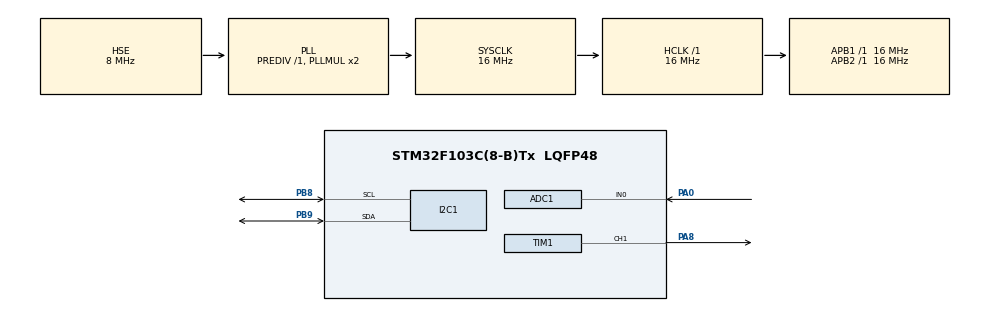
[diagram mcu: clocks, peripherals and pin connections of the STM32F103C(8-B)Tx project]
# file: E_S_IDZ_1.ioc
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ADC1.Channel-0\#ChannelRegularConversion=ADC_CHANNEL_0
ADC1.NbrOfConversionFlag=1
ADC1.Rank-0\#ChannelRegularConversion=1
ADC1.SamplingTime-0\#ChannelRegularConversion=ADC_SAMPLETIME_1CYCLE_5
ADC1.master=1
Mcu.Family=STM32F1
Mcu.Name=STM32F103C(8-B)Tx
Mcu.Package=LQFP48
NVIC.ADC1_2_IRQn=true\:0\:0\:false\:false\:true\:true\:true\:true
NVIC.PriorityGroup=NVIC_PRIORITYGROUP_4
NVIC.TIM2_IRQn=true\:0\:0\:false\:false\:true\:true\:true\:true
PA0-WKUP.Signal=ADCx_IN0
PA13.Mode=Serial_Wire
PA13.Signal=SYS_JTMS-SWDIO
PA14.Mode=Serial_Wire
PA14.Signal=SYS_JTCK-SWCLK
PA8.Signal=S_TIM1_CH1
PB8.Mode=I2C
PB8.Signal=I2C1_SCL
PB9.Mode=I2C
PB9.Signal=I2C1_SDA
PD0-OSC_IN.Mode=HSE-External-Oscillator
PD0-OSC_IN.Signal=RCC_OSC_IN
PD1-OSC_OUT.Mode=HSE-External-Oscillator
PD1-OSC_OUT.Signal=RCC_OSC_OUT
ProjectManager.HeapSize=0x200
ProjectManager.StackSize=0x400
ProjectManager.TargetToolchain=STM32CubeIDE
RCC.AHBFreq_Value=16000000
RCC.APB1Freq_Value=16000000
RCC.APB1TimFreq_Value=16000000
RCC.APB2Freq_Value=16000000
RCC.APB2TimFreq_Value=16000000
RCC.HCLKFreq_Value=16000000
RCC.PLLSourceVirtual=RCC_PLLSOURCE_HSE
RCC.SYSCLKFreq_VALUE=16000000
RCC.SYSCLKSource=RCC_SYSCLKSOURCE_PLLCLK
RCC.USBFreq_Value=16000000
SH.ADCx_IN0.0=ADC1_IN0,IN0
SH.S_TIM1_CH1.0=TIM1_CH1,PWM Generation1 CH1
TIM1.Channel-PWM\ Generation1\ CH1=TIM_CHANNEL_1
TIM1.Period=50000
TIM2.Channel-PWM\ Generation1\ No\ Output=TIM_CHANNEL_1
TIM2.Period=20
TIM2.Prescaler=800
VP_TIM2_VS_no_output1.Mode=PWM Generation1 No Output
board=custom

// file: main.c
/* USER CODE BEGIN Header */
/**
  ******************************************************************************
  * @file           : main.c
  * @brief          : Main program body
  ******************************************************************************
  * @attention
  *
  * Copyright (c) 2023 STMicroelectronics.
  * All rights reserved.
  *
  * This software is licensed under terms that can be found in the LICENSE file
  * in the root directory of this software component.
  * If no LICENSE file comes with this software, it is provided AS-IS.
  *
  ******************************************************************************
  */
/* USER CODE END Header */
#include "main.h"

/* USER CODE BEGIN PD */
#define median_number 200
/* USER CODE END PD */

ADC_HandleTypeDef hadc1;

I2C_HandleTypeDef hi2c1;

TIM_HandleTypeDef htim1;
TIM_HandleTypeDef htim2;

/* USER CODE BEGIN PV */
extern volatile int16_t adc_reg_val;
int16_t filtered_adc_val = 0;
int16_t normalized = 0;
/* USER CODE END PV */

void SystemClock_Config(void);
static void MX_GPIO_Init(void);
static void MX_ADC1_Init(void);
static void MX_I2C1_Init(void);
static void MX_TIM2_Init(void);
static void MX_TIM1_Init(void);

/* USER CODE BEGIN 0 */
int16_t normalize(int16_t number, int16_t old_min, int16_t old_max, int16_t min, int16_t max) {
	number = (int16_t)((int32_t)((int32_t)(number - old_min) * (int32_t)(max - min)) / (old_max - old_min)) + min;
	return number;
}

int16_t compare(const void *a, const void *b) {
	return *(int16_t*)a - *(int16_t*)b;
}

int16_t median_filter(int16_t num) {
	static int16_t arr[median_number] = {0};
	static int16_t ind = 0;
	arr[ind] = num;
	ind = (ind + 1) % median_number;

	int16_t temp_arr[median_number] = {0};
	for (int16_t i = 0; i < median_number; i++) {
		temp_arr[i] = arr[i];
	}

	qsort(temp_arr, median_number, sizeof(int16_t), compare);

	return temp_arr[median_number / 2];
}
/* USER CODE END 0 */

int main(void)
{

  /* MCU Configuration--------------------------------------------------------*/

  /* Reset of all peripherals, Initializes the Flash interface and the Systick. */
  HAL_Init();

  /* Configure the system clock */
  SystemClock_Config();

  /* Initialize all configured peripherals */
  MX_GPIO_Init();
  MX_ADC1_Init();
  MX_I2C1_Init();
  MX_TIM2_Init();
  MX_TIM1_Init();
  /* USER CODE BEGIN 2 */
  HAL_TIM_Base_Start_IT(&htim1);
  HAL_TIM_PWM_Start(&htim1, TIM_CHANNEL_1);

  HAL_TIM_Base_Start_IT(&htim2);
  /* USER CODE END 2 */

  /* Infinite loop */
  /* USER CODE BEGIN WHILE */
  while (1)
  {
	  filtered_adc_val = median_filter(adc_reg_val);
	  normalized = normalize(filtered_adc_val, 0, 4095, 0, 100);
	  TIM1->CCR1 = normalized;
    /* USER CODE END WHILE */

  }
}

void SystemClock_Config(void)
{
  RCC_OscInitTypeDef RCC_OscInitStruct = {0};
  RCC_ClkInitTypeDef RCC_ClkInitStruct = {0};
  RCC_PeriphCLKInitTypeDef PeriphClkInit = {0};

  /** Initializes the RCC Oscillators according to the specified parameters
  * in the RCC_OscInitTypeDef structure.
  */
  RCC_OscInitStruct.OscillatorType = RCC_OSCILLATORTYPE_HSE;
  RCC_OscInitStruct.HSEState = RCC_HSE_ON;
  RCC_OscInitStruct.HSEPredivValue = RCC_HSE_PREDIV_DIV1;
  RCC_OscInitStruct.HSIState = RCC_HSI_ON;
  RCC_OscInitStruct.PLL.PLLState = RCC_PLL_ON;
  RCC_OscInitStruct.PLL.PLLSource = RCC_PLLSOURCE_HSE;
  RCC_OscInitStruct.PLL.PLLMUL = RCC_PLL_MUL2;
  if (HAL_RCC_OscConfig(&RCC_OscInitStruct) != HAL_OK)
  {
    Error_Handler();
  }

  /** Initializes the CPU, AHB and APB buses clocks
  */
  RCC_ClkInitStruct.ClockType = RCC_CLOCKTYPE_HCLK|RCC_CLOCKTYPE_SYSCLK
                              |RCC_CLOCKTYPE_PCLK1|RCC_CLOCKTYPE_PCLK2;
  RCC_ClkInitStruct.SYSCLKSource = RCC_SYSCLKSOURCE_PLLCLK;
  RCC_ClkInitStruct.AHBCLKDivider = RCC_SYSCLK_DIV1;
  RCC_ClkInitStruct.APB1CLKDivider = RCC_HCLK_DIV1;
  RCC_ClkInitStruct.APB2CLKDivider = RCC_HCLK_DIV1;

  if (HAL_RCC_ClockConfig(&RCC_ClkInitStruct, FLASH_LATENCY_0) != HAL_OK)
  {
    Error_Handler();
  }
  PeriphClkInit.PeriphClockSelection = RCC_PERIPHCLK_ADC;
  PeriphClkInit.AdcClockSelection = RCC_ADCPCLK2_DIV2;
  if (HAL_RCCEx_PeriphCLKConfig(&PeriphClkInit) != HAL_OK)
  {
    Error_Handler();
  }
}

static void MX_ADC1_Init(void)
{

  ADC_ChannelConfTypeDef sConfig = {0};

  /** Common config
  */
  hadc1.Instance = ADC1;
  hadc1.Init.ScanConvMode = ADC_SCAN_DISABLE;
  hadc1.Init.ContinuousConvMode = DISABLE;
  hadc1.Init.DiscontinuousConvMode = DISABLE;
  hadc1.Init.ExternalTrigConv = ADC_SOFTWARE_START;
  hadc1.Init.DataAlign = ADC_DATAALIGN_RIGHT;
  hadc1.Init.NbrOfConversion = 1;
  if (HAL_ADC_Init(&hadc1) != HAL_OK)
  {
    Error_Handler();
  }

  /** Configure Regular Channel
  */
  sConfig.Channel = ADC_CHANNEL_0;
  sConfig.Rank = ADC_REGULAR_RANK_1;
  sConfig.SamplingTime = ADC_SAMPLETIME_1CYCLE_5;
  if (HAL_ADC_ConfigChannel(&hadc1, &sConfig) != HAL_OK)
  {
    Error_Handler();
  }

}

static void MX_I2C1_Init(void)
{

  hi2c1.Instance = I2C1;
  hi2c1.Init.ClockSpeed = 100000;
  hi2c1.Init.DutyCycle = I2C_DUTYCYCLE_2;
  hi2c1.Init.OwnAddress1 = 0;
  hi2c1.Init.AddressingMode = I2C_ADDRESSINGMODE_7BIT;
  hi2c1.Init.DualAddressMode = I2C_DUALADDRESS_DISABLE;
  hi2c1.Init.OwnAddress2 = 0;
  hi2c1.Init.GeneralCallMode = I2C_GENERALCALL_DISABLE;
  hi2c1.Init.NoStretchMode = I2C_NOSTRETCH_DISABLE;
  if (HAL_I2C_Init(&hi2c1) != HAL_OK)
  {
    Error_Handler();
  }

}

static void MX_TIM1_Init(void)
{

  TIM_MasterConfigTypeDef sMasterConfig = {0};
  TIM_OC_InitTypeDef sConfigOC = {0};
  TIM_BreakDeadTimeConfigTypeDef sBreakDeadTimeConfig = {0};

  htim1.Instance = TIM1;
  htim1.Init.Prescaler = 0;
  htim1.Init.CounterMode = TIM_COUNTERMODE_UP;
  htim1.Init.Period = 50000;
  htim1.Init.ClockDivision = TIM_CLOCKDIVISION_DIV1;
  htim1.Init.RepetitionCounter = 0;
  htim1.Init.AutoReloadPreload = TIM_AUTORELOAD_PRELOAD_DISABLE;
  if (HAL_TIM_PWM_Init(&htim1) != HAL_OK)
  {
    Error_Handler();
  }
  sMasterConfig.MasterOutputTrigger = TIM_TRGO_RESET;
  sMasterConfig.MasterSlaveMode = TIM_MASTERSLAVEMODE_DISABLE;
  if (HAL_TIMEx_MasterConfigSynchronization(&htim1, &sMasterConfig) != HAL_OK)
  {
    Error_Handler();
  }
  sConfigOC.OCMode = TIM_OCMODE_PWM1;
  sConfigOC.Pulse = 0;
  sConfigOC.OCPolarity = TIM_OCPOLARITY_HIGH;
  sConfigOC.OCNPolarity = TIM_OCNPOLARITY_HIGH;
  sConfigOC.OCFastMode = TIM_OCFAST_DISABLE;
  sConfigOC.OCIdleState = TIM_OCIDLESTATE_RESET;
  sConfigOC.OCNIdleState = TIM_OCNIDLESTATE_RESET;
  if (HAL_TIM_PWM_ConfigChannel(&htim1, &sConfigOC, TIM_CHANNEL_1) != HAL_OK)
  {
    Error_Handler();
  }
  sBreakDeadTimeConfig.OffStateRunMode = TIM_OSSR_DISABLE;
  sBreakDeadTimeConfig.OffStateIDLEMode = TIM_OSSI_DISABLE;
  sBreakDeadTimeConfig.LockLevel = TIM_LOCKLEVEL_OFF;
  sBreakDeadTimeConfig.DeadTime = 0;
  sBreakDeadTimeConfig.BreakState = TIM_BREAK_DISABLE;
  sBreakDeadTimeConfig.BreakPolarity = TIM_BREAKPOLARITY_HIGH;
  sBreakDeadTimeConfig.AutomaticOutput = TIM_AUTOMATICOUTPUT_DISABLE;
  if (HAL_TIMEx_ConfigBreakDeadTime(&htim1, &sBreakDeadTimeConfig) != HAL_OK)
  {
    Error_Handler();
  }
  HAL_TIM_MspPostInit(&htim1);

}

static void MX_TIM2_Init(void)
{

  TIM_MasterConfigTypeDef sMasterConfig = {0};
  TIM_OC_InitTypeDef sConfigOC = {0};

  htim2.Instance = TIM2;
  htim2.Init.Prescaler = 800;
  htim2.Init.CounterMode = TIM_COUNTERMODE_UP;
  htim2.Init.Period = 20;
  htim2.Init.ClockDivision = TIM_CLOCKDIVISION_DIV1;
  htim2.Init.AutoReloadPreload = TIM_AUTORELOAD_PRELOAD_DISABLE;
  if (HAL_TIM_PWM_Init(&htim2) != HAL_OK)
  {
    Error_Handler();
  }
  sMasterConfig.MasterOutputTrigger = TIM_TRGO_RESET;
  sMasterConfig.MasterSlaveMode = TIM_MASTERSLAVEMODE_DISABLE;
  if (HAL_TIMEx_MasterConfigSynchronization(&htim2, &sMasterConfig) != HAL_OK)
  {
    Error_Handler();
  }
  sConfigOC.OCMode = TIM_OCMODE_PWM1;
  sConfigOC.Pulse = 0;
  sConfigOC.OCPolarity = TIM_OCPOLARITY_HIGH;
  sConfigOC.OCFastMode = TIM_OCFAST_DISABLE;
  if (HAL_TIM_PWM_ConfigChannel(&htim2, &sConfigOC, TIM_CHANNEL_1) != HAL_OK)
  {
    Error_Handler();
  }

}

static void MX_GPIO_Init(void)
{

  /* GPIO Ports Clock Enable */
  __HAL_RCC_GPIOD_CLK_ENABLE();
  __HAL_RCC_GPIOA_CLK_ENABLE();
  __HAL_RCC_GPIOB_CLK_ENABLE();

}

void Error_Handler(void)
{
  __disable_irq();
  while (1)
  {
  }
}
